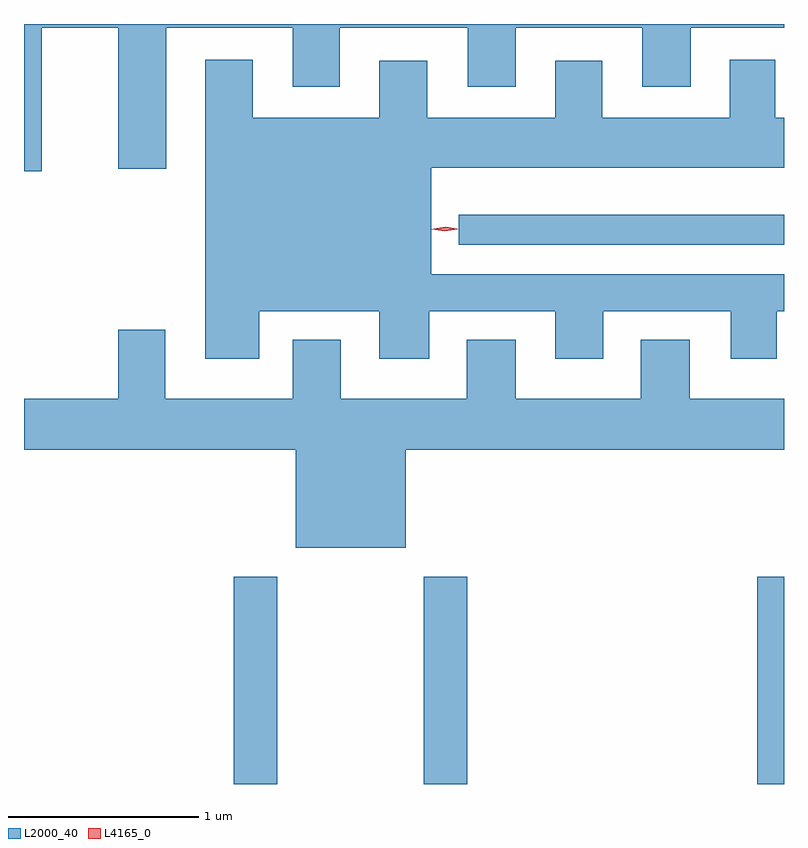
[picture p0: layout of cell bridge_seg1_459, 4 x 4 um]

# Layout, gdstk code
import gdstk
lib = gdstk.Library(unit=1e-6, precision=1e-09)
def R(c, l, rs):  # rectangles x0, y0, x1, y1
    for r in rs: c.add(gdstk.rectangle(r[:2], r[2:], *l))
def P(c, l, *ps):  # polygons
    for p in ps: c.add(gdstk.Polygon(p, *l))
L2000_40 = (2000, 40)
L4165_0 = (4165, 0)

bridge_seg1_459 = lib.new_cell('bridge_seg1_459')
R(bridge_seg1_459, L2000_40, [(322.271,844.537,322.499,845.629), (323.271,844.537,323.499,845.629), (325.026,844.537,325.166,845.629), (323.453,847.376,325.166,847.534)])
P(bridge_seg1_459, L2000_40, [(321.259,848.516),(321.661,848.516),(321.661,847.776),(321.914,847.776),(321.914,848.516),(322.581,848.516),(322.581,848.206),(322.829,848.206),(322.829,848.516),(323.501,848.516),(323.501,848.206),(323.754,848.206),(323.754,848.516),(324.421,848.516),(324.421,848.206),(324.674,848.206),(324.674,848.516),(325.166,848.516),(325.166,848.537),(321.166,848.537),(321.166,847.761),(321.259,847.761)],
  [(322.404,847.026),(323.036,847.026),(323.036,846.776),(323.299,846.776),(323.299,847.026),(323.961,847.026),(323.961,846.776),(324.214,846.776),(324.214,847.026),(324.886,847.026),(324.886,846.776),(325.129,846.776),(325.129,847.026),(325.166,847.026),(325.166,847.219),(323.309,847.219),(323.309,847.781),(325.166,847.781),(325.166,848.044),(325.119,848.044),(325.119,848.349),(324.881,848.349),(324.881,848.044),(324.209,848.044),(324.209,848.344),(323.961,848.344),(323.961,848.044),(323.289,848.044),(323.289,848.344),(323.036,848.344),(323.036,848.044),(322.369,848.044),(322.369,848.349),(322.121,848.349),(322.121,846.776),(322.404,846.776)],
  [(323.174,846.296),(325.166,846.296),(325.166,846.564),(324.669,846.564),(324.669,846.874),(324.411,846.874),(324.411,846.564),(323.754,846.564),(323.754,846.874),(323.496,846.874),(323.496,846.564),(322.834,846.564),(322.834,846.874),(322.581,846.874),(322.581,846.564),(321.909,846.564),(321.909,846.929),(321.661,846.929),(321.661,846.564),(321.166,846.564),(321.166,846.296),(322.596,846.296),(322.596,845.781),(323.174,845.781)])
P(bridge_seg1_459, L4165_0, [(323.385,847.45),(323.323,847.459),(323.322,847.46),(323.323,847.46),(323.385,847.47),(323.446,847.46),(323.447,847.46),(323.446,847.459)],
  [(323.381,847.447),(323.312,847.457),(323.312,847.457),(323.312,847.458),(323.381,847.467),(323.45,847.458),(323.45,847.457),(323.45,847.457)])

lib.write_gds('bridge_seg1_459.gds')
